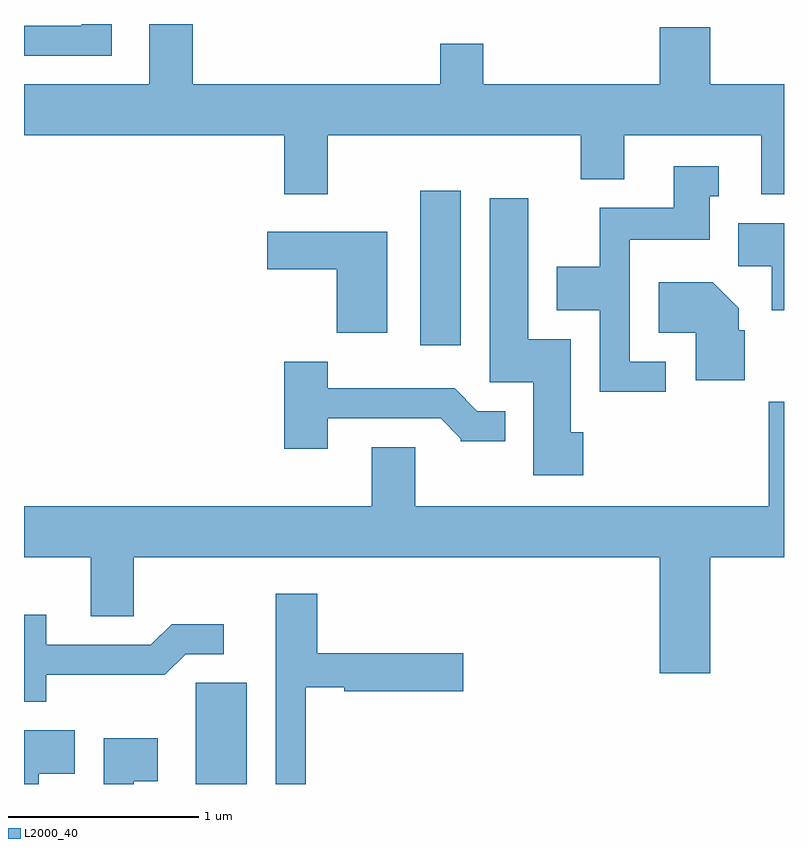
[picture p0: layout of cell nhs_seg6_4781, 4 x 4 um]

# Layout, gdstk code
import gdstk
lib = gdstk.Library(unit=1e-6, precision=1e-09)
def R(c, l, rs):  # rectangles x0, y0, x1, y1
    for r in rs: c.add(gdstk.rectangle(r[:2], r[2:], *l))
def P(c, l, *ps):  # polygons
    for p in ps: c.add(gdstk.Polygon(p, *l))
L2000_40 = (2000, 40)

nhs_seg6_4781 = lib.new_cell('nhs_seg6_4781')
R(nhs_seg6_4781, L2000_40, [(332.516,1562.162,332.784,1562.694), (333.696,1564.471,333.909,1565.284)])
P(nhs_seg6_4781, L2000_40, [(333.209,1565.576),(334.541,1565.576),(334.541,1565.346),(334.769,1565.346),(334.769,1565.576),(335.491,1565.576),(335.491,1565.266),(335.611,1565.266),(335.611,1565.844),(335.224,1565.844),(335.224,1566.144),(334.956,1566.144),(334.956,1565.844),(334.029,1565.844),(334.029,1566.059),(333.801,1566.059),(333.801,1565.844),(332.499,1565.844),(332.499,1566.162),(332.271,1566.162),(332.271,1565.844),(331.611,1565.844),(331.611,1565.576),(332.981,1565.576),(332.981,1565.266),(333.209,1565.266)],
  [(332.074,1566.162),(331.916,1566.162),(331.916,1566.154),(331.611,1566.154),(331.611,1565.996),(332.074,1565.996)],
  [(334.988,1564.384),(334.799,1564.384),(334.799,1565.026),(335.219,1565.026),(335.219,1565.256),(335.268,1565.256),(335.268,1565.414),(335.031,1565.414),(335.031,1565.194),(334.641,1565.194),(334.641,1564.884),(334.416,1564.884),(334.416,1564.656),(334.641,1564.656),(334.641,1564.226),(334.988,1564.226)],
  [(334.554,1564.014),(334.489,1564.014),(334.489,1564.504),(334.264,1564.504),(334.264,1565.244),(334.061,1565.244),(334.061,1564.276),(334.291,1564.276),(334.291,1563.786),(334.554,1563.786)],
  [(335.611,1565.114),(335.371,1565.114),(335.371,1564.886),(335.546,1564.886),(335.546,1564.656),(335.611,1564.656)],
  [(333.524,1565.069),(332.891,1565.069),(332.891,1564.871),(333.256,1564.871),(333.256,1564.536),(333.524,1564.536)],
  [(335.404,1564.549),(335.374,1564.549),(335.374,1564.667),(335.237,1564.804),(334.951,1564.804),(334.951,1564.536),(335.146,1564.536),(335.146,1564.286),(335.404,1564.286)],
  [(333.209,1564.086),(333.804,1564.086),(333.91,1563.98),(333.91,1563.966),(334.143,1563.966),(334.143,1564.124),(333.997,1564.124),(333.877,1564.244),(333.209,1564.244),(333.209,1564.384),(332.981,1564.384),(332.981,1563.926),(333.209,1563.926)],
  [(335.224,1563.356),(335.611,1563.356),(335.611,1564.173),(335.531,1564.173),(335.531,1563.624),(333.669,1563.624),(333.669,1563.934),(333.441,1563.934),(333.441,1563.624),(331.611,1563.624),(331.611,1563.356),(331.961,1563.356),(331.961,1563.046),(332.189,1563.046),(332.189,1563.356),(334.956,1563.356),(334.956,1562.746),(335.224,1562.746)],
  [(333.094,1562.671),(333.296,1562.671),(333.296,1562.651),(333.924,1562.651),(333.924,1562.849),(333.154,1562.849),(333.154,1563.164),(332.936,1563.164),(332.936,1562.162),(333.094,1562.162)],
  [(331.729,1562.736),(332.352,1562.736),(332.462,1562.846),(332.663,1562.846),(332.663,1563.004),(332.389,1563.004),(332.279,1562.894),(331.729,1562.894),(331.729,1563.054),(331.611,1563.054),(331.611,1562.596),(331.729,1562.596)],
  [(331.689,1562.216),(331.879,1562.216),(331.879,1562.444),(331.611,1562.444),(331.611,1562.162),(331.689,1562.162)],
  [(332.189,1562.176),(332.314,1562.176),(332.314,1562.404),(332.031,1562.404),(332.031,1562.162),(332.189,1562.162)])

lib.write_gds('nhs_seg6_4781.gds')
